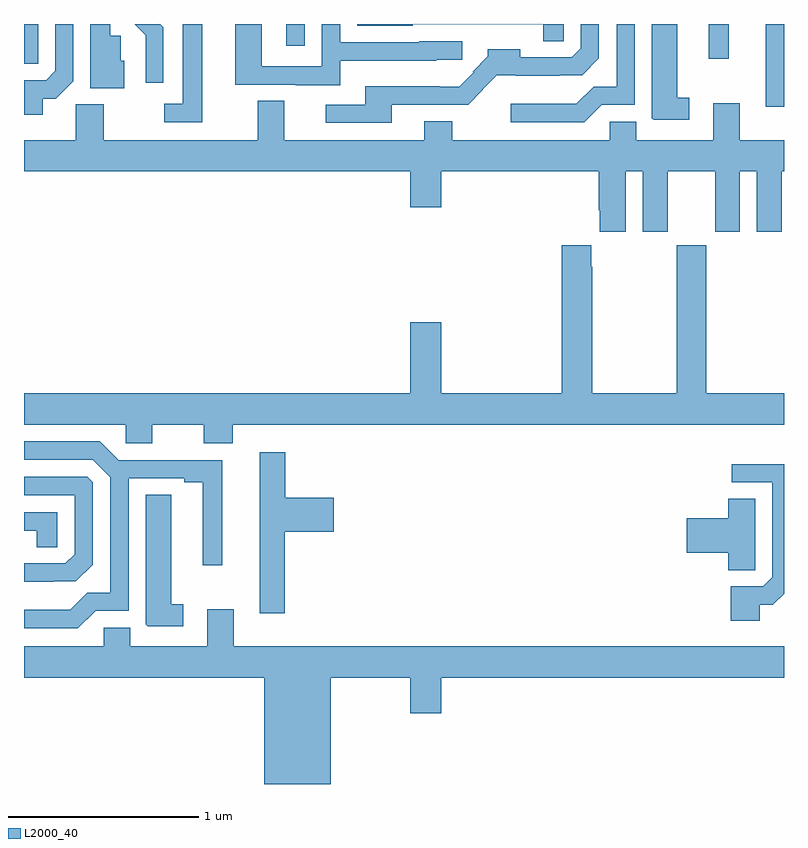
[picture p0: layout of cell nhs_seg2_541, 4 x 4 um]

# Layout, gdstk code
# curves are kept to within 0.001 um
import gdstk
lib = gdstk.Library(unit=1e-6, precision=1e-09)
def R(c, l, rs):  # rectangles x0, y0, x1, y1
    for r in rs: c.add(gdstk.rectangle(r[:2], r[2:], *l))
def P(c, l, *ps):  # polygons
    for p in ps: c.add(gdstk.Polygon(p, *l))
L2000_40 = (2000, 40)

nhs_seg2_541 = lib.new_cell('nhs_seg2_541')
R(nhs_seg2_541, L2000_40, [(142.904,593.364,143,593.8), (142.604,593.616,142.708,593.8), (140.381,593.685,140.478,593.8)])
P(nhs_seg2_541, L2000_40, [(142.501,593.411),(142.438,593.411),(142.438,593.8),(142.304,593.8),(142.304,593.305),(142.314,593.295),(142.501,593.295)],
  [(142.041,593.376),(142.215,593.376),(142.215,593.8),(142.119,593.8),(142.119,593.471),(141.998,593.471),(141.907,593.38),(141.561,593.38),(141.561,593.283),(141.948,593.283)],
  [(140.665,593.606),(141.171,593.606),(141.171,593.613),(141.306,593.613),(141.306,593.709),(141.081,593.709),(141.081,593.703),(140.664,593.703),(140.664,593.8),(140.568,593.8),(140.568,593.577),(140.25,593.577),(140.25,593.8),(140.111,593.8),(140.111,593.481),(140.429,593.481),(140.429,593.477),(140.665,593.477)],
  [(139.528,593.607),(139.509,593.607),(139.509,593.739),(139.453,593.739),(139.453,593.8),(139.349,593.8),(139.349,593.462),(139.528,593.462)],
  [(139.074,593.698),(139.075,593.698),(139.075,593.8),(139,593.8),(139,593.59),(139.074,593.59)],
  [(139.939,593.8),(139.835,593.8),(139.835,593.379),(139.737,593.379),(139.737,593.283),(139.939,593.283)],
  [(141.84,593.8),(140.754,593.8),(140.754,593.792),(141.045,593.792),(141.045,593.799),(141.477,593.799),(141.477,593.798),(141.732,593.798),(141.732,593.71),(141.84,593.71)],
  [(139.734,593.784),(139.718,593.8),(139.582,593.8),(139.64,593.742),(139.64,593.49),(139.734,593.49)],
  [(139.099,593.407),(139.167,593.407),(139.26,593.499),(139.26,593.8),(139.164,593.8),(139.164,593.553),(139.116,593.505),(139,593.505),(139,593.322),(139.099,593.322)],
  [(140.935,593.376),(141.339,593.376),(141.415,593.453),(141.413,593.455),(141.487,593.529),(141.821,593.528),(141.821,593.53),(141.937,593.53),(142.026,593.619),(142.026,593.8),(141.93,593.8),(141.93,593.673),(141.882,593.625),(141.613,593.625),(141.613,593.668),(141.442,593.668),(141.442,593.629),(141.363,593.55),(141.366,593.547),(141.29,593.471),(141.188,593.471),(141.188,593.473),(140.795,593.473),(140.795,593.376),(140.589,593.376),(140.589,593.28),(140.935,593.28)],
  [(142.168,593.024),(142.256,593.024),(142.256,592.707),(142.387,592.707),(142.387,593.024),(142.637,593.024),(142.637,592.707),(142.768,592.707),(142.768,593.024),(142.856,593.024),(142.856,592.707),(142.987,592.707),(142.987,593.024),(143,593.024),(143,593.188),(142.768,593.188),(142.768,593.383),(142.628,593.383),(142.628,593.188),(142.222,593.188),(142.222,593.286),(142.083,593.286),(142.083,593.188),(141.255,593.188),(141.255,593.287),(141.107,593.287),(141.107,593.188),(140.371,593.188),(140.371,593.396),(140.231,593.396),(140.231,593.188),(139.419,593.188),(139.419,593.377),(139.272,593.377),(139.272,593.188),(139,593.188),(139,593.024),(141.032,593.024),(141.032,592.836),(141.196,592.836),(141.196,593.024),(142.025,593.024),(142.025,592.819),(142.031,592.819),(142.031,592.707),(142.168,592.707)],
  [(140.099,591.692),(143,591.692),(143,591.856),(142.59,591.856),(142.59,592.636),(142.435,592.636),(142.435,591.856),(141.99,591.856),(141.99,592.523),(141.985,592.523),(141.985,592.636),(141.83,592.636),(141.83,591.856),(141.196,591.856),(141.196,592.231),(141.032,592.231),(141.032,591.856),(139,591.856),(139,591.692),(139.536,591.692),(139.536,591.594),(139.675,591.594),(139.675,591.692),(139.946,591.692),(139.946,591.593),(140.099,591.593)],
  [(139.377,590.712),(139.551,590.712),(139.551,591.408),(139.844,591.408),(139.844,591.388),(139.94,591.388),(139.94,590.952),(140.044,590.952),(140.044,591.504),(139.498,591.504),(139.399,591.603),(139,591.603),(139,591.507),(139.362,591.507),(139.455,591.414),(139.455,590.807),(139.334,590.807),(139.243,590.716),(139,590.716),(139,590.619),(139.284,590.619)],
  [(140.372,591.128),(140.629,591.128),(140.629,591.306),(140.375,591.306),(140.375,591.547),(140.24,591.547),(140.24,590.7),(140.372,590.7)],
  [(142.873,590.743),(142.941,590.743),(143,590.801),(143,591.483),(142.725,591.483),(142.725,591.387),(142.938,591.387),(142.938,590.889),(142.89,590.841),(142.721,590.841),(142.721,590.658),(142.873,590.658)],
  [(139.157,590.866),(139.273,590.866),(139.362,590.955),(139.362,591.387),(139.332,591.417),(139,591.417),(139,591.321),(139.266,591.321),(139.266,591.009),(139.218,590.961),(139,590.961),(139,590.864),(139.157,590.864)],
  [(139.837,590.747),(139.774,590.747),(139.774,591.323),(139.64,591.323),(139.64,590.641),(139.65,590.631),(139.837,590.631)],
  [(142.848,591.034),(142.849,591.034),(142.849,591.302),(142.706,591.302),(142.706,591.2),(142.488,591.2),(142.488,591.017),(142.706,591.017),(142.706,590.926),(142.848,590.926)],
  [(139.176,591.231),(139,591.231),(139,591.134),(139.068,591.134),(139.068,591.046),(139.176,591.046)],
  [(140.614,590.36),(141.032,590.36),(141.032,590.172),(141.196,590.172),(141.196,590.36),(143,590.36),(143,590.524),(140.104,590.524),(140.104,590.719),(139.964,590.719),(139.964,590.524),(139.558,590.524),(139.558,590.622),(139.419,590.622),(139.419,590.524),(139,590.524),(139,590.36),(140.264,590.36),(140.264,589.8),(140.614,589.8)])

lib.write_gds('nhs_seg2_541.gds')
